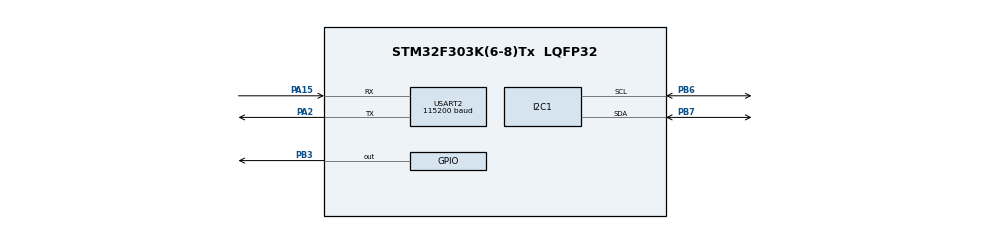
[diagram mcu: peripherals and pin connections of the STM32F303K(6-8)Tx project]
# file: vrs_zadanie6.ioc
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I2C1.Timing=0x00201D2B
Mcu.Family=STM32F3
Mcu.Name=STM32F303K(6-8)Tx
Mcu.Package=LQFP32
NVIC.I2C1_EV_IRQn=true\:0\:0\:false\:false\:true\:true\:true\:true
NVIC.PriorityGroup=NVIC_PRIORITYGROUP_4
PA13.Mode=Serial_Wire
PA13.Signal=SYS_JTMS-SWDIO
PA14.Mode=Serial_Wire
PA14.Signal=SYS_JTCK-SWCLK
PA15.Mode=Asynchronous
PA15.Signal=USART2_RX
PA2.Mode=Asynchronous
PA2.Signal=USART2_TX
PB3.Signal=GPIO_Output
PB6.Mode=I2C
PB6.Signal=I2C1_SCL
PB7.Mode=I2C
PB7.Signal=I2C1_SDA
ProjectManager.HeapSize=0x200
ProjectManager.StackSize=0x400
ProjectManager.TargetToolchain=STM32CubeIDE
RCC.AHBFreq_Value=8000000
RCC.APB1Freq_Value=8000000
RCC.APB2Freq_Value=8000000
RCC.CortexFreq_Value=8000000
RCC.HSE_VALUE=8000000
RCC.HSI_VALUE=8000000
RCC.SYSCLKFreq_VALUE=8000000
USART2.BaudRate=115200
USART2.VirtualMode-Asynchronous=VM_ASYNC
board=custom

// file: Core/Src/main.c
/* USER CODE BEGIN Header */
/**
  ******************************************************************************
  * @file           : main.c
  * @brief          : Main program body
  ******************************************************************************
  * @attention
  *
  * Copyright (c) 2026 STMicroelectronics.
  * All rights reserved.
  *
  * This software is licensed under terms that can be found in the LICENSE file
  * in the root directory of this software component.
  * If no LICENSE file comes with this software, it is provided AS-IS.
  *
  ******************************************************************************
  */
/* USER CODE END Header */
#include "main.h"
#include "i2c.h"
#include "usart.h"
#include "gpio.h"

/* USER CODE BEGIN Includes */
#include "hts221.h"
#include "lps25hb.h"
#include <stdio.h>
/* USER CODE END Includes */

void SystemClock_Config(void);
/* USER CODE BEGIN PFP */
static void send_measurements(void);
/* USER CODE END PFP */

int main(void)
{

  /* MCU Configuration--------------------------------------------------------*/

  /* Reset of all peripherals, Initializes the Flash interface and the Systick. */
  LL_APB2_GRP1_EnableClock(LL_APB2_GRP1_PERIPH_SYSCFG);
  LL_APB1_GRP1_EnableClock(LL_APB1_GRP1_PERIPH_PWR);

  /* System interrupt init*/
  NVIC_SetPriorityGrouping(NVIC_PRIORITYGROUP_4);

  /* SysTick_IRQn interrupt configuration */
  NVIC_SetPriority(SysTick_IRQn, NVIC_EncodePriority(NVIC_GetPriorityGrouping(),15, 0));

  /* Configure the system clock */
  SystemClock_Config();

  /* Initialize all configured peripherals */
  MX_GPIO_Init();
  MX_I2C1_Init();
  MX_USART2_UART_Init();
  /* USER CODE BEGIN 2 */
  /* register the i2c functions as sensor callbacks */
  hts221_set_io(i2c_read, i2c_write);
  lps25hb_set_io(i2c_read, i2c_write);

  if (!hts221_init())
  {
    usart2_send_string("HTS221 init failed\r\n");
  }
  if (!lps25hb_init())
  {
    usart2_send_string("LPS25HB init failed\r\n");
  }

  /* wait for the first measurement and take the altitude reference */
  LL_mDelay(1200);
  lps25hb_set_ref_pressure(lps25hb_get_pressure());
  /* USER CODE END 2 */

  /* Infinite loop */
  while (1)
  {

    /* USER CODE BEGIN 3 */
    send_measurements();
    LL_mDelay(1000);
  }
  /* USER CODE END 3 */
}

void SystemClock_Config(void)
{
  LL_FLASH_SetLatency(LL_FLASH_LATENCY_0);
  while(LL_FLASH_GetLatency()!= LL_FLASH_LATENCY_0)
  {
  }
  LL_RCC_HSI_Enable();

   /* Wait till HSI is ready */
  while(LL_RCC_HSI_IsReady() != 1)
  {

  }
  LL_RCC_HSI_SetCalibTrimming(16);
  LL_RCC_SetAHBPrescaler(LL_RCC_SYSCLK_DIV_1);
  LL_RCC_SetAPB1Prescaler(LL_RCC_APB1_DIV_1);
  LL_RCC_SetAPB2Prescaler(LL_RCC_APB2_DIV_1);
  LL_RCC_SetSysClkSource(LL_RCC_SYS_CLKSOURCE_HSI);

   /* Wait till System clock is ready */
  while(LL_RCC_GetSysClkSource() != LL_RCC_SYS_CLKSOURCE_STATUS_HSI)
  {

  }
  LL_Init1msTick(8000000);
  LL_SetSystemCoreClock(8000000);
  LL_RCC_SetI2CClockSource(LL_RCC_I2C1_CLKSOURCE_HSI);
}

/* USER CODE BEGIN 4 */
/* one csv line: temperature,humidity,pressure,altitude */
static void send_measurements(void)
{
  char buf[48];
  int16_t t;
  uint8_t h;
  int32_t p;
  int32_t a;
  int ta;
  int aa;

  t = hts221_calc_temperature(hts221_read_temperature_raw());   /* 0.1 degC */
  h = hts221_calc_humidity(hts221_read_humidity_raw());         /* % */
  p = lps25hb_get_pressure();     /* 0.01 hPa */
  a = lps25hb_get_altitude(p);    /* 0.01 m */

  /* sign is printed separately so it is not lost on the fractional part */
  ta = (t < 0) ? -t : t;
  aa = (a < 0) ? -a : a;

  sprintf(buf, "%s%d.%d,%u,%d.%02d,%s%d.%02d\r\n",
          (t < 0) ? "-" : "", ta / 10, ta % 10,
          (unsigned int)h,
          (int)(p / 100), (int)(p % 100),
          (a < 0) ? "-" : "", aa / 100, aa % 100);

  usart2_send_string(buf);
}
/* USER CODE END 4 */

void Error_Handler(void)
{
  __disable_irq();
  while (1)
  {
  }
}
